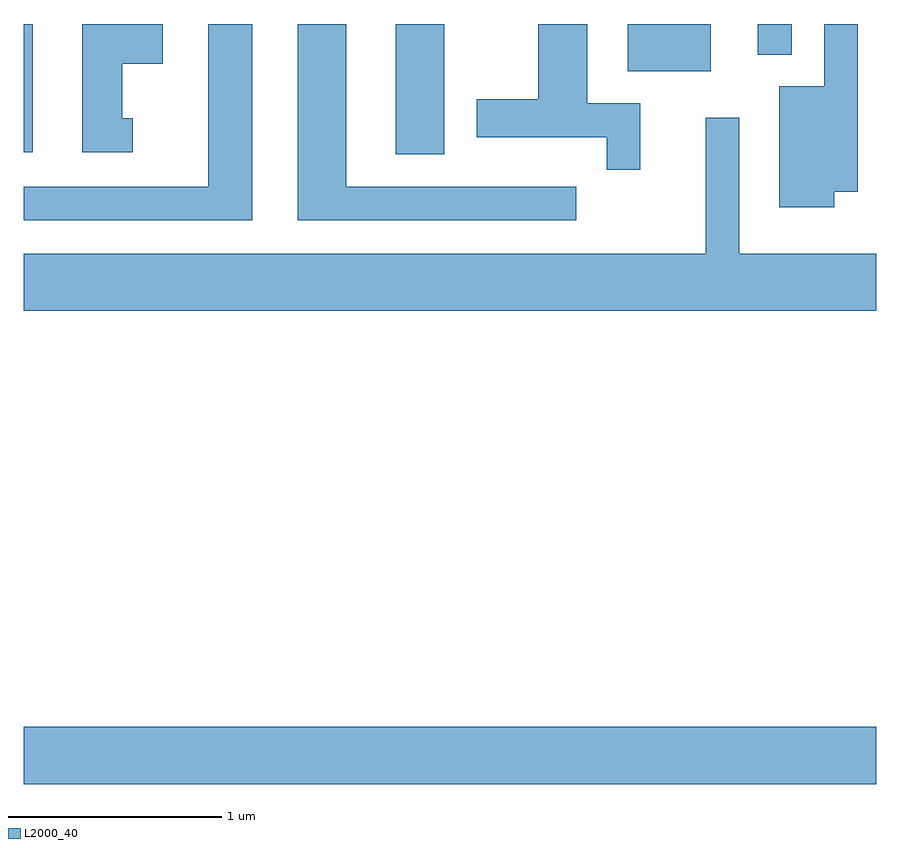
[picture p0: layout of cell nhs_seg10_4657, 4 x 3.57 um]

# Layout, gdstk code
import gdstk
lib = gdstk.Library(unit=1e-6, precision=1e-09)
def R(c, l, rs):  # rectangles x0, y0, x1, y1
    for r in rs: c.add(gdstk.rectangle(r[:2], r[2:], *l))
def P(c, l, *ps):  # polygons
    for p in ps: c.add(gdstk.Polygon(p, *l))
L2000_40 = (2000, 40)

nhs_seg10_4657 = lib.new_cell('nhs_seg10_4657')
R(nhs_seg10_4657, L2000_40, [(321.611,2184.956,325.611,2185.224), (323.356,2187.911,323.584,2188.522), (321.611,2187.921,321.654,2188.522), (324.446,2188.301,324.834,2188.522), (325.056,2188.378,325.214,2188.522)])
P(nhs_seg10_4657, L2000_40, [(324.203,2187.759),(323.124,2187.759),(323.124,2188.522),(322.896,2188.522),(322.896,2187.601),(324.203,2187.601)],
  [(325.414,2187.736),(325.524,2187.736),(325.524,2188.522),(325.366,2188.522),(325.366,2188.229),(325.156,2188.229),(325.156,2187.661),(325.414,2187.661)],
  [(324.504,2188.149),(324.254,2188.149),(324.254,2188.522),(324.026,2188.522),(324.026,2188.169),(323.736,2188.169),(323.736,2187.991),(324.346,2187.991),(324.346,2187.838),(324.504,2187.838)],
  [(322.684,2188.522),(322.476,2188.522),(322.476,2187.759),(321.611,2187.759),(321.611,2187.601),(322.684,2187.601)],
  [(322.123,2188.079),(322.074,2188.079),(322.074,2188.336),(322.264,2188.336),(322.264,2188.522),(321.886,2188.522),(321.886,2187.921),(322.123,2187.921)],
  [(325.611,2187.444),(324.969,2187.444),(324.969,2188.083),(324.811,2188.083),(324.811,2187.444),(321.611,2187.444),(321.611,2187.176),(325.611,2187.176)])

lib.write_gds('nhs_seg10_4657.gds')
